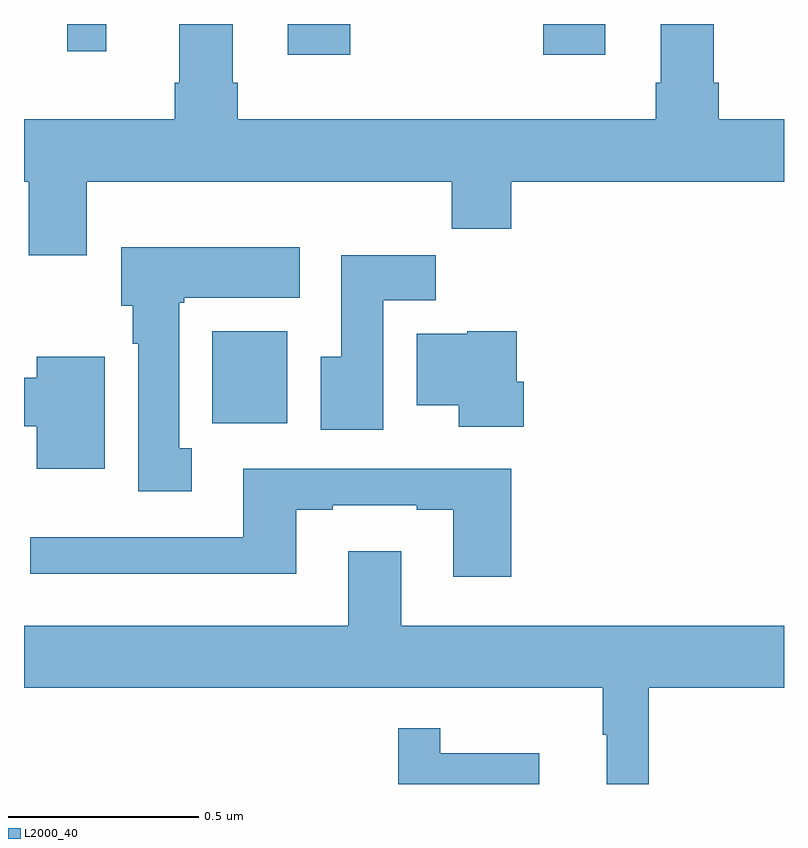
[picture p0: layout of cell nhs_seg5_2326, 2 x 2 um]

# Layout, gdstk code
import gdstk
lib = gdstk.Library(unit=1e-6, precision=1e-09)
def R(c, l, rs):  # rectangles x0, y0, x1, y1
    for r in rs: c.add(gdstk.rectangle(r[:2], r[2:], *l))
def P(c, l, *ps):  # polygons
    for p in ps: c.add(gdstk.Polygon(p, *l))
L2000_40 = (2000, 40)

nhs_seg5_2326 = lib.new_cell('nhs_seg5_2326')
R(nhs_seg5_2326, L2000_40, [(142.496,898.748,142.693,898.99), (142.694,899.718,142.858,899.799), (143.366,899.718,143.53,899.799), (142.114,899.727,142.217,899.799)])
P(nhs_seg5_2326, L2000_40, [(142.165,899.384),(143.125,899.384),(143.125,899.26),(143.282,899.26),(143.282,899.384),(144,899.384),(144,899.548),(143.828,899.548),(143.828,899.644),(143.815,899.644),(143.815,899.799),(143.675,899.799),(143.675,899.644),(143.663,899.644),(143.663,899.548),(142.562,899.548),(142.562,899.644),(142.549,899.644),(142.549,899.799),(142.409,899.799),(142.409,899.644),(142.397,899.644),(142.397,899.548),(142,899.548),(142,899.384),(142.013,899.384),(142.013,899.19),(142.165,899.19)],
  [(142.441,898.682),(142.408,898.682),(142.408,899.065),(142.422,899.065),(142.422,899.078),(142.726,899.078),(142.726,899.212),(142.256,899.212),(142.256,899.058),(142.286,899.058),(142.286,898.958),(142.301,898.958),(142.301,898.569),(142.441,898.569)],
  [(142.945,899.072),(143.084,899.072),(143.084,899.191),(142.835,899.191),(142.835,898.924),(142.781,898.924),(142.781,898.731),(142.945,898.731)],
  [(143.315,898.857),(143.297,898.857),(143.297,898.99),(143.166,898.99),(143.166,898.984),(143.033,898.984),(143.033,898.796),(143.144,898.796),(143.144,898.739),(143.315,898.739)],
  [(142.213,898.924),(142.034,898.924),(142.034,898.868),(142,898.868),(142,898.74),(142.034,898.74),(142.034,898.628),(142.213,898.628)],
  [(143.282,898.629),(142.577,898.629),(142.577,898.449),(142.017,898.449),(142.017,898.352),(142.717,898.352),(142.717,898.521),(142.813,898.521),(142.813,898.533),(143.033,898.533),(143.033,898.521),(143.129,898.521),(143.129,898.344),(143.282,898.344)],
  [(143.644,898.052),(144,898.052),(144,898.216),(142.993,898.216),(142.993,898.411),(142.853,898.411),(142.853,898.216),(142,898.216),(142,898.052),(143.523,898.052),(143.523,897.929),(143.534,897.929),(143.534,897.799),(143.644,897.799)],
  [(143.356,897.88),(143.095,897.88),(143.095,897.946),(142.985,897.946),(142.985,897.799),(143.356,897.799)])

lib.write_gds('nhs_seg5_2326.gds')
